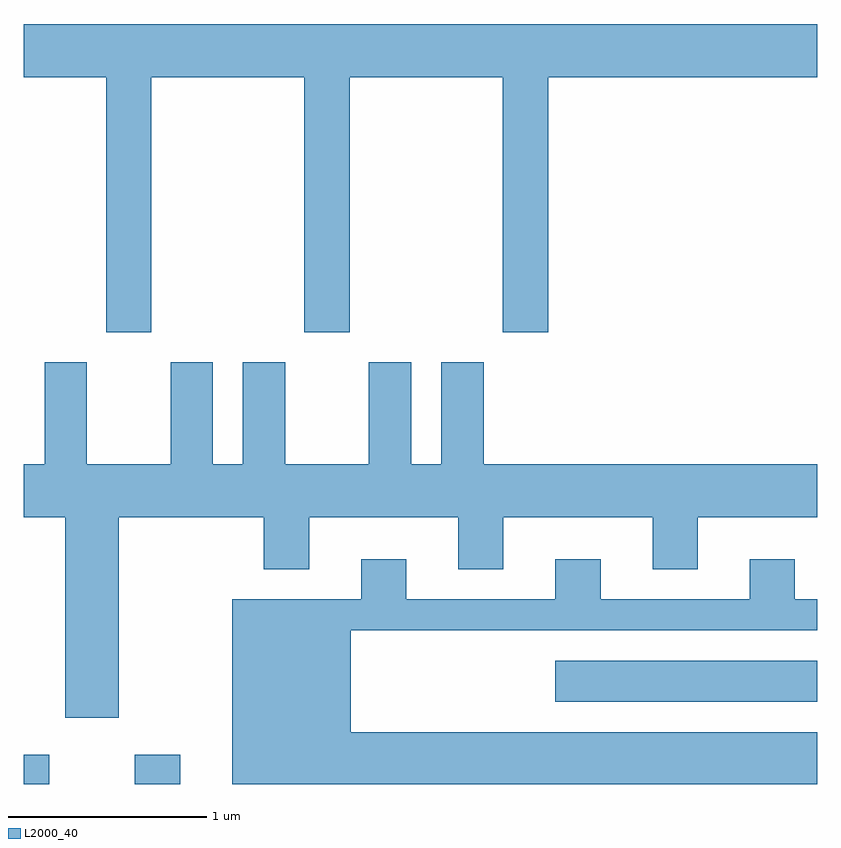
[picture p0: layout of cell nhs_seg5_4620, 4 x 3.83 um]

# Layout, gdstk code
import gdstk
lib = gdstk.Library(unit=1e-6, precision=1e-09)
def R(c, l, rs):  # rectangles x0, y0, x1, y1
    for r in rs: c.add(gdstk.rectangle(r[:2], r[2:], *l))
def P(c, l, *ps):  # polygons
    for p in ps: c.add(gdstk.Polygon(p, *l))
L2000_40 = (2000, 40)

nhs_seg5_4620 = lib.new_cell('nhs_seg5_4620')
R(nhs_seg5_4620, L2000_40, [(321.611,1502.072,321.739,1502.219), (322.171,1502.072,322.399,1502.219), (324.291,1502.486,325.611,1502.694)])
P(nhs_seg5_4620, L2000_40, [(321.611,1505.636),(322.026,1505.636),(322.026,1504.351),(322.254,1504.351),(322.254,1505.636),(323.026,1505.636),(323.026,1504.351),(323.254,1504.351),(323.254,1505.636),(324.026,1505.636),(324.026,1504.351),(324.254,1504.351),(324.254,1505.636),(325.611,1505.636),(325.611,1505.904),(321.611,1505.904)],
  [(323.801,1503.156),(324.029,1503.156),(324.029,1503.416),(324.781,1503.416),(324.781,1503.156),(325.009,1503.156),(325.009,1503.416),(325.611,1503.416),(325.611,1503.684),(323.929,1503.684),(323.929,1504.199),(323.716,1504.199),(323.716,1503.684),(323.564,1503.684),(323.564,1504.199),(323.351,1504.199),(323.351,1503.684),(322.929,1503.684),(322.929,1504.199),(322.716,1504.199),(322.716,1503.684),(322.564,1503.684),(322.564,1504.199),(322.351,1504.199),(322.351,1503.684),(321.929,1503.684),(321.929,1504.199),(321.716,1504.199),(321.716,1503.684),(321.611,1503.684),(321.611,1503.416),(321.821,1503.416),(321.821,1502.406),(322.089,1502.406),(322.089,1503.416),(322.821,1503.416),(322.821,1503.156),(323.049,1503.156),(323.049,1503.416),(323.801,1503.416)],
  [(325.611,1502.334),(323.259,1502.334),(323.259,1502.846),(325.611,1502.846),(325.611,1503.004),(325.499,1503.004),(325.499,1503.204),(325.271,1503.204),(325.271,1503.004),(324.519,1503.004),(324.519,1503.204),(324.291,1503.204),(324.291,1503.004),(323.539,1503.004),(323.539,1503.204),(323.311,1503.204),(323.311,1503.004),(322.661,1503.004),(322.661,1502.072),(325.611,1502.072)])

lib.write_gds('nhs_seg5_4620.gds')
